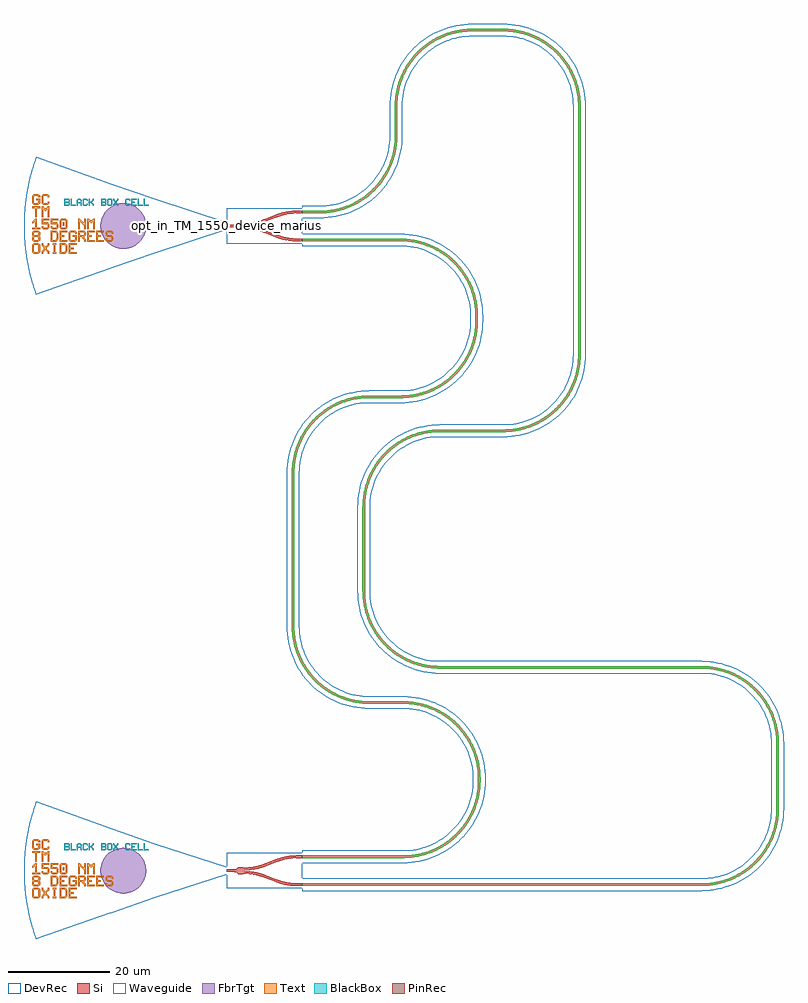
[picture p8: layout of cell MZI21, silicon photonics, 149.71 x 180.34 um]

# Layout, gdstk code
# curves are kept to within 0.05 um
import gdstk
lib = gdstk.Library(unit=1e-6, precision=1e-09)
def R(c, l, rs):  # rectangles x0, y0, x1, y1
    for r in rs: c.add(gdstk.rectangle(r[:2], r[2:], *l))
def P(c, l, *ps):  # polygons
    for p in ps: c.add(gdstk.Polygon(p, *l))
Si = (1, 0)
PinRec = (1, 10)
Waveguide = (1, 99)
Text = (10, 0)
DevRec = (68, 0)
FbrTgt = (81, 0)
BlackBox = (998, 0)

text_1 = lib.new_cell('TEXT$1')
P(text_1, BlackBox, [(0,0),(0,1.4),(0.8,1.4),(1,1.2),(0.2,1.2),(0.2,0.8),(0.7,0.8),(0.8,0.9),(0.8,1.1),(0.7,1.2),(1,1.2),(1,0.8),(0.9,0.7),(1,0.6),(0.2,0.6),(0.2,0.2),(0.7,0.2),(0.8,0.3),(0.8,0.5),(0.7,0.6),(1,0.6),(1,0.2),(0.8,0)],
  [(1.2,0),(1.2,1.4),(1.4,1.4),(1.4,0.2),(2.2,0.2),(2.2,0)],
  [(2.4,0),(2.4,1.1),(2.7,1.4),(3.1,1.4),(3.3,1.2),(2.8,1.2),(2.6,1),(2.6,0.7),(3.2,0.7),(3.2,1),(3,1.2),(3.3,1.2),(3.4,1.1),(3.4,0),(3.2,0),(3.2,0.5),(2.6,0.5),(2.6,0)],
  [(3.8,0),(3.6,0.2),(3.6,1.2),(3.8,1.4),(4.4,1.4),(4.6,1.2),(4.6,1),(4.4,1),(4.4,1.1),(4.3,1.2),(3.9,1.2),(3.8,1.1),(3.8,0.3),(3.9,0.2),(4.3,0.2),(4.4,0.3),(4.4,0.4),(4.6,0.4),(4.6,0.2),(4.4,0)],
  [(4.8,0),(4.8,1.4),(5,1.4),(5,0.8),(5.2,0.8),(5.6,1.2),(5.6,1.4),(5.8,1.4),(5.8,1.1),(5.4,0.7),(5.8,0.3),(5.8,0),(5.6,0),(5.6,0.2),(5.2,0.6),(5,0.6),(5,0)],
  [(7.2,0),(7.2,1.4),(8,1.4),(8.2,1.2),(7.4,1.2),(7.4,0.8),(7.9,0.8),(8,0.9),(8,1.1),(7.9,1.2),(8.2,1.2),(8.2,0.8),(8.1,0.7),(8.2,0.6),(7.4,0.6),(7.4,0.2),(7.9,0.2),(8,0.3),(8,0.5),(7.9,0.6),(8.2,0.6),(8.2,0.2),(8,0)],
  [(8.6,0),(8.4,0.2),(8.4,1.2),(8.6,1.4),(9.2,1.4),(9.4,1.2),(9.4,0.7),(9.2,0.7),(9.2,1.1),(9.1,1.2),(8.7,1.2),(8.6,1.1),(8.6,0.3),(8.7,0.2),(9.1,0.2),(9.2,0.3),(9.2,0.7),(9.4,0.7),(9.4,0.2),(9.2,0)],
  [(9.6,0),(9.6,0.3),(9.9,0.6),(9.9,0.8),(9.6,1.1),(9.6,1.4),(9.8,1.4),(9.8,1.2),(10.1,0.9),(10.4,1.2),(10.4,1.4),(10.6,1.4),(10.6,1.1),(10.3,0.8),(10.3,0.6),(10.6,0.3),(10.6,0),(10.4,0),(10.4,0.2),(10.1,0.5),(9.8,0.2),(9.8,0)],
  [(12.2,0),(12,0.2),(12,1.2),(12.2,1.4),(12.8,1.4),(13,1.2),(13,1),(12.8,1),(12.8,1.1),(12.7,1.2),(12.3,1.2),(12.2,1.1),(12.2,0.3),(12.3,0.2),(12.7,0.2),(12.8,0.3),(12.8,0.4),(13,0.4),(13,0.2),(12.8,0)],
  [(13.2,0),(13.2,1.4),(14.2,1.4),(14.2,1.2),(13.4,1.2),(13.4,0.8),(13.8,0.8),(13.8,0.6),(13.4,0.6),(13.4,0.2),(14.2,0.2),(14.2,0)],
  [(14.4,0),(14.4,1.4),(14.6,1.4),(14.6,0.2),(15.4,0.2),(15.4,0)],
  [(15.6,0),(15.6,1.4),(15.8,1.4),(15.8,0.2),(16.6,0.2),(16.6,0)])

gc_tm_1550_8degoxide_bb = lib.new_cell('GC_TM_1550_8degOxide_BB')
R(gc_tm_1550_8degoxide_bb, Text, [(-32.313,0.092,-32.013,0.692)])
P(gc_tm_1550_8degoxide_bb, Text, [(-37.713,1.742),(-37.713,3.542),(-38.313,3.542),(-38.313,3.842),(-36.813,3.842),(-36.813,3.542),(-37.413,3.542),(-37.413,1.742)],
  [(-38.013,-5.458),(-38.313,-5.158),(-38.313,-3.658),(-38.013,-3.358),(-37.113,-3.358),(-36.813,-3.658),(-36.813,-4.408),(-37.113,-4.408),(-37.113,-3.808),(-37.263,-3.658),(-37.863,-3.658),(-38.013,-3.808),(-38.013,-5.008),(-37.863,-5.158),(-37.263,-5.158),(-37.113,-5.008),(-37.113,-4.408),(-36.813,-4.408),(-36.813,-5.158),(-37.113,-5.458)],
  [(-31.113,-5.458),(-31.113,-3.358),(-29.613,-3.358),(-29.613,-3.658),(-30.813,-3.658),(-30.813,-4.258),(-30.213,-4.258),(-30.213,-4.558),(-30.813,-4.558),(-30.813,-5.158),(-29.613,-5.158),(-29.613,-5.458)],
  [(-32.913,-3.058),(-32.913,-0.958),(-31.413,-0.958),(-31.413,-1.258),(-32.613,-1.258),(-32.613,-1.858),(-32.013,-1.858),(-32.013,-2.158),(-32.613,-2.158),(-32.613,-2.758),(-31.413,-2.758),(-31.413,-3.058)],
  [(-27.513,-3.058),(-27.513,-0.958),(-26.013,-0.958),(-26.013,-1.258),(-27.213,-1.258),(-27.213,-1.858),(-26.613,-1.858),(-26.613,-2.158),(-27.213,-2.158),(-27.213,-2.758),(-26.013,-2.758),(-26.013,-3.058)],
  [(-25.713,-3.058),(-25.713,-0.958),(-24.213,-0.958),(-24.213,-1.258),(-25.413,-1.258),(-25.413,-1.858),(-24.813,-1.858),(-24.813,-2.158),(-25.413,-2.158),(-25.413,-2.758),(-24.213,-2.758),(-24.213,-3.058)],
  [(-29.313,-0.658),(-29.313,1.442),(-29.013,1.442),(-28.263,0.692),(-28.113,0.692),(-28.113,1.442),(-27.813,1.442),(-27.813,-0.658),(-28.113,-0.658),(-28.113,0.092),(-28.863,0.842),(-29.013,0.842),(-29.013,-0.658)],
  [(-34.263,-5.458),(-34.263,-5.158),(-34.113,-5.158),(-34.113,-3.658),(-34.263,-3.658),(-34.263,-3.358),(-33.663,-3.358),(-33.663,-3.658),(-33.813,-3.658),(-33.813,-5.158),(-33.663,-5.158),(-33.663,-5.458)],
  [(-36.213,4.142),(-36.513,4.442),(-36.513,5.942),(-36.213,6.242),(-35.313,6.242),(-35.013,5.942),(-35.013,5.642),(-35.313,5.642),(-35.313,5.792),(-35.463,5.942),(-36.063,5.942),(-36.213,5.792),(-36.213,4.592),(-36.063,4.442),(-35.463,4.442),(-35.313,4.592),(-35.313,4.742),(-35.013,4.742),(-35.013,4.442),(-35.313,4.142)],
  [(-27.513,-0.658),(-27.513,1.442),(-27.213,1.442),(-26.913,1.142),(-26.613,1.142),(-26.313,1.442),(-26.013,1.442),(-26.013,-0.658),(-26.313,-0.658),(-26.313,0.842),(-26.463,0.842),(-26.763,0.542),(-27.063,0.842),(-27.213,0.842),(-27.213,-0.658)],
  [(-36.513,1.742),(-36.513,3.842),(-36.213,3.842),(-35.913,3.542),(-35.613,3.542),(-35.313,3.842),(-35.013,3.842),(-35.013,1.742),(-35.313,1.742),(-35.313,3.242),(-35.463,3.242),(-35.763,2.942),(-36.063,3.242),(-36.213,3.242),(-36.213,1.742)],
  [(-32.613,-0.658),(-32.913,-0.358),(-32.913,1.142),(-32.613,1.442),(-31.713,1.442),(-31.413,1.142),(-32.463,1.142),(-32.613,0.992),(-32.613,-0.208),(-32.463,-0.358),(-31.863,-0.358),(-31.713,-0.208),(-31.713,0.992),(-31.863,1.142),(-31.413,1.142),(-31.413,-0.358),(-31.713,-0.658)],
  [(-32.913,-5.458),(-32.913,-3.358),(-31.863,-3.358),(-31.563,-3.658),(-32.613,-3.658),(-32.613,-5.158),(-32.013,-5.158),(-31.713,-4.858),(-31.713,-3.958),(-32.013,-3.658),(-31.563,-3.658),(-31.413,-3.808),(-31.413,-5.008),(-31.863,-5.458)],
  [(-34.713,-3.058),(-34.713,-0.958),(-33.663,-0.958),(-33.363,-1.258),(-34.413,-1.258),(-34.413,-2.758),(-33.813,-2.758),(-33.513,-2.458),(-33.513,-1.558),(-33.813,-1.258),(-33.363,-1.258),(-33.213,-1.408),(-33.213,-2.608),(-33.663,-3.058)],
  [(-23.613,-3.058),(-23.913,-2.758),(-23.913,-2.458),(-23.613,-2.458),(-23.613,-2.608),(-23.463,-2.758),(-22.863,-2.758),(-22.713,-2.608),(-22.713,-2.308),(-22.863,-2.158),(-23.613,-2.158),(-23.913,-1.858),(-23.913,-1.258),(-23.613,-0.958),(-22.713,-0.958),(-22.413,-1.258),(-22.413,-1.558),(-22.713,-1.558),(-22.713,-1.408),(-22.863,-1.258),(-23.463,-1.258),(-23.613,-1.408),(-23.613,-1.708),(-23.463,-1.858),(-22.713,-1.858),(-22.413,-2.158),(-22.413,-2.758),(-22.713,-3.058)],
  [(-36.213,-0.658),(-36.513,-0.358),(-36.513,-0.058),(-36.213,-0.058),(-36.213,-0.208),(-36.063,-0.358),(-35.463,-0.358),(-35.313,-0.208),(-35.313,0.242),(-35.463,0.392),(-36.513,0.392),(-36.513,1.442),(-35.013,1.442),(-35.013,1.142),(-36.213,1.142),(-36.213,0.692),(-35.313,0.692),(-35.013,0.392),(-35.013,-0.358),(-35.313,-0.658)],
  [(-34.413,-0.658),(-34.713,-0.358),(-34.713,-0.058),(-34.413,-0.058),(-34.413,-0.208),(-34.263,-0.358),(-33.663,-0.358),(-33.513,-0.208),(-33.513,0.242),(-33.663,0.392),(-34.713,0.392),(-34.713,1.442),(-33.213,1.442),(-33.213,1.142),(-34.413,1.142),(-34.413,0.692),(-33.513,0.692),(-33.213,0.392),(-33.213,-0.358),(-33.513,-0.658)],
  [(-38.013,-3.058),(-38.313,-2.758),(-38.313,-2.158),(-38.163,-2.008),(-38.313,-1.858),(-38.313,-1.258),(-38.013,-0.958),(-37.113,-0.958),(-36.813,-1.258),(-37.863,-1.258),(-38.013,-1.408),(-38.013,-1.708),(-37.863,-1.858),(-37.263,-1.858),(-37.113,-1.708),(-37.113,-1.408),(-37.263,-1.258),(-36.813,-1.258),(-36.813,-1.858),(-36.963,-2.008),(-36.813,-2.158),(-37.863,-2.158),(-38.013,-2.308),(-38.013,-2.608),(-37.863,-2.758),(-37.263,-2.758),(-37.113,-2.608),(-37.113,-2.308),(-37.263,-2.158),(-36.813,-2.158),(-36.813,-2.758),(-37.113,-3.058)],
  [(-38.313,-0.658),(-38.313,-0.358),(-37.713,-0.358),(-37.713,0.842),(-37.863,0.842),(-38.163,0.542),(-38.313,0.542),(-38.313,0.842),(-37.713,1.442),(-37.413,1.442),(-37.413,-0.358),(-36.813,-0.358),(-36.813,-0.658)],
  [(-36.513,-5.458),(-36.513,-5.008),(-36.063,-4.558),(-36.063,-4.258),(-36.513,-3.808),(-36.513,-3.358),(-36.213,-3.358),(-36.213,-3.658),(-35.763,-4.108),(-35.313,-3.658),(-35.313,-3.358),(-35.013,-3.358),(-35.013,-3.808),(-35.463,-4.258),(-35.463,-4.558),(-35.013,-5.008),(-35.013,-5.458),(-35.313,-5.458),(-35.313,-5.158),(-35.763,-4.708),(-36.213,-5.158),(-36.213,-5.458)],
  [(-30.813,-3.058),(-31.113,-2.758),(-31.113,-1.258),(-30.813,-0.958),(-29.913,-0.958),(-29.613,-1.258),(-29.613,-1.558),(-29.913,-1.558),(-29.913,-1.408),(-30.063,-1.258),(-30.663,-1.258),(-30.813,-1.408),(-30.813,-2.608),(-30.663,-2.758),(-30.063,-2.758),(-29.913,-2.608),(-29.913,-2.158),(-30.363,-2.158),(-30.363,-1.858),(-29.613,-1.858),(-29.613,-2.758),(-29.913,-3.058)],
  [(-38.013,4.142),(-38.313,4.442),(-38.313,5.942),(-38.013,6.242),(-37.113,6.242),(-36.813,5.942),(-36.813,5.642),(-37.113,5.642),(-37.113,5.792),(-37.263,5.942),(-37.863,5.942),(-38.013,5.792),(-38.013,4.592),(-37.863,4.442),(-37.263,4.442),(-37.113,4.592),(-37.113,5.042),(-37.563,5.042),(-37.563,5.342),(-36.813,5.342),(-36.813,4.442),(-37.113,4.142)],
  [(-29.313,-3.058),(-29.313,-0.958),(-28.113,-0.958),(-27.813,-1.258),(-29.013,-1.258),(-29.013,-1.858),(-28.263,-1.858),(-28.113,-1.708),(-28.113,-1.408),(-28.263,-1.258),(-27.813,-1.258),(-27.813,-1.858),(-28.113,-2.158),(-28.113,-2.308),(-27.813,-2.608),(-27.813,-3.058),(-28.113,-3.058),(-28.113,-2.758),(-28.713,-2.158),(-29.013,-2.158),(-29.013,-3.058)])
P(gc_tm_1550_8degoxide_bb, DevRec, [(-37.607,-13.5),(-38.627,-10.245),(-39.378,-6.832),(-39.835,-3.274),(-39.969,0.224),(-39.812,3.541),(-39.331,7.097),(-38.557,10.505),(-37.546,13.669),(-22.8,8.353),(-14.109,5.36),(0,0.75),(0,-0.75),(-14.109,-5.36)])
P(gc_tm_1550_8degoxide_bb, FbrTgt, [(-20.621,-4.5),(-21.495,-4.37),(-22.326,-4.073),(-23.084,-3.619),(-23.738,-3.026),(-24.264,-2.316),(-24.642,-1.518),(-24.857,-0.661),(-24.9,0.221),(-24.77,1.095),(-24.473,1.926),(-24.019,2.684),(-23.426,3.338),(-22.716,3.864),(-21.918,4.242),(-21.061,4.457),(-20.179,4.5),(-19.305,4.37),(-18.474,4.073),(-17.716,3.619),(-17.062,3.026),(-16.536,2.316),(-16.158,1.518),(-15.943,0.661),(-15.9,-0.221),(-16.03,-1.095),(-16.327,-1.926),(-16.781,-2.684),(-17.374,-3.338),(-18.084,-3.864),(-18.882,-4.242),(-19.739,-4.457)])
gc_tm_1550_8degoxide_bb.add(gdstk.FlexPath([(-0.01,0),(0.01,0)], 0.5, ends="flush", simple_path=True, layer=1, datatype=10))  # PinRec
gc_tm_1550_8degoxide_bb.add(gdstk.Reference(text_1, (-32,4)))
gc_tm_1550_8degoxide_bb.add(gdstk.Label('opt1', (0,0), layer=1, texttype=10))
gc_tm_1550_8degoxide_bb.add(gdstk.Label('Component=GC_TM_1550_8degOxide_BB', (-28,-5), layer=68, texttype=0))

ebeam_y_1550 = lib.new_cell('ebeam_y_1550')
R(ebeam_y_1550, Si, [(6.5,-3,7.4,-2.5), (-7.4,-0.25,-6,0.25), (6.5,2.5,7.4,3)])
P(ebeam_y_1550, Si, [(6.458,-3),(6.237,-2.997),(6.237,-2.497),(6.5,-2.5),(6.5,-3)],
  [(5.033,-2.908),(3.59,-2.634),(2.265,-2.21),(2.445,-1.744),(3.731,-2.154),(5.033,-2.404)],
  [(6.233,-2.997),(5.033,-2.908),(5.033,-2.404),(6.237,-2.497)],
  [(2.265,-2.21),(0.055,-1.356),(0.235,-0.89),(2.445,-1.744)],
  [(-0.762,-1.076),(-2.334,-0.724),(-4,-0.6),(-4,-0.1),(-2.381,-0.212),(-0.762,-0.555)],
  [(0.055,-1.356),(-0.762,-1.076),(-0.762,-0.555),(0.235,-0.89)],
  [(6.237,2.497),(6.237,2.997),(6.5,3),(6.5,2.5)],
  [(2.445,1.744),(2.267,2.211),(3.59,2.634),(5.033,2.908),(5.033,2.404),(3.731,2.154)],
  [(5.033,2.404),(5.033,2.908),(6.237,2.997),(6.237,2.497)],
  [(0.235,0.89),(0.055,1.356),(2.265,2.21),(2.445,1.744)],
  [(-4,0.1),(-4,0.6),(-2.334,0.724),(-0.762,1.076),(-0.762,0.555),(-2.381,0.212)],
  [(-0.762,0.555),(-0.762,1.076),(0.055,1.356),(0.235,0.89)],
  [(-5.122,-0.662),(-5.442,-0.374),(-5.808,-0.255),(-6,-0.25),(-6,0.25),(-5.817,0.253),(-5.442,0.374),(-5.122,0.662)],
  [(-4.957,-0.703),(-5.122,-0.662),(-5.122,0.662),(-4.538,0.703),(-4,0.6),(-4,-0.6)])
R(ebeam_y_1550, DevRec, [(-7.4,-3.5,7.4,3.5)])
ebeam_y_1550.add(gdstk.FlexPath([(-7.35,0),(-7.45,0)], 0.5, ends="flush", simple_path=True, layer=1, datatype=10))  # PinRec
ebeam_y_1550.add(gdstk.FlexPath([(7.35,2.75),(7.45,2.75)], 0.5, ends="flush", simple_path=True, layer=1, datatype=10))  # PinRec
ebeam_y_1550.add(gdstk.FlexPath([(7.35,-2.75),(7.45,-2.75)], 0.5, ends="flush", simple_path=True, layer=1, datatype=10))  # PinRec
ebeam_y_1550.add(gdstk.Label('opt2', (7.4,2.75), layer=1, texttype=10))
ebeam_y_1550.add(gdstk.Label('opt3', (7.4,-2.75), layer=1, texttype=10))
ebeam_y_1550.add(gdstk.Label('opt1', (-7.4,0), layer=1, texttype=10))
ebeam_y_1550.add(gdstk.Label('Component=ebeam_y_1550', (-6,1.5), layer=68, texttype=0))
ebeam_y_1550.add(gdstk.Label('Lumerical_INTERCONNECT_library=Design kits/ebeam', (-6.86,-2.19), layer=68, texttype=0))
ebeam_y_1550.add(gdstk.Label('Ref: Y Zhang, Opt. Express, 21/1, 2013', (-7.5,-1), layer=10, texttype=0))

waveguide_30 = lib.new_cell('Waveguide$30')
P(waveguide_30, Si, [(54.769,16),(54.769,16.5),(75.644,16.531),(77.793,16.832),(79.875,17.445),(81.632,18.241),(83.27,19.26),(84.762,20.485),(86.081,21.893),(87.205,23.461),(88.114,25.162),(88.722,26.737),(89.191,28.61),(89.411,30.526),(89.398,32.595),(89.146,34.507),(88.646,36.371),(87.908,38.154),(86.943,39.825),(85.769,41.355),(84.404,42.72),(83.074,43.758),(81.419,44.751),(79.875,45.435),(78.028,45.995),(76.843,46.221),(75.403,46.362),(67.76,46.382),(66.018,46.51),(64.789,46.724),(63.344,47.111),(62.173,47.541),(60.82,48.181),(59.33,49.09),(57.954,50.164),(56.543,51.575),(55.469,52.951),(54.444,54.662),(53.736,56.258),(53.216,57.924),(52.859,59.887),(52.759,61.63),(52.777,92.608),(52.962,94.344),(53.416,96.286),(54.018,97.925),(54.802,99.485),(55.469,100.539),(56.38,101.726),(57.225,102.644),(58.143,103.489),(59.126,104.256),(60.169,104.941),(61.489,105.646),(62.637,106.133),(64.789,106.766),(66.763,107.059),(74.662,107.118),(76.581,107.307),(77.996,107.612),(79.375,108.055),(80.919,108.739),(82.172,109.463),(83.536,110.458),(84.944,111.777),(86.169,113.269),(87.072,114.696),(87.897,116.439),(88.427,118.043),(88.77,119.696),(88.927,121.619),(88.88,123.956),(88.544,126.099),(87.897,128.171),(86.952,130.125),(85.732,131.92),(84.262,133.515),(82.574,134.878),(80.485,136.084),(79.375,136.555),(77.996,136.998),(76.581,137.303),(75.144,137.469),(54.769,137.5),(54.769,138),(74.428,137.998),(75.673,137.927),(76.909,137.754),(78.605,137.343),(80.015,136.839),(81.368,136.199),(82.858,135.29),(84.234,134.216),(85.31,133.175),(86.428,131.834),(87.386,130.375),(88.07,129.044),(88.698,127.415),(89.136,125.725),(89.356,124.244),(89.429,122.75),(89.378,120.614),(89.183,119.13),(88.772,117.434),(88.268,116.024),(87.628,114.671),(86.859,113.387),(85.967,112.185),(84.963,111.076),(83.854,110.072),(82.652,109.18),(81.368,108.411),(79.082,107.419),(77.885,107.067),(76.417,106.775),(74.428,106.612),(67.044,106.579),(65.132,106.327),(63.268,105.827),(61.056,104.869),(60.016,104.257),(58.839,103.413),(57.751,102.459),(56.919,101.585),(55.483,99.649),(54.574,97.948),(53.966,96.373),(53.497,94.5),(53.277,92.584),(53.259,61.63),(53.355,59.945),(53.644,58.281),(54.204,56.434),(54.888,54.89),(55.881,53.235),(56.919,51.905),(58.284,50.54),(59.614,49.502),(61.056,48.621),(62.142,48.097),(63.496,47.587),(64.895,47.212),(66.084,47.006),(67.768,46.882),(75.427,46.862),(76.67,46.75),(78.142,46.481),(80.051,45.903),(81.647,45.195),(83.358,44.17),(84.734,43.096),(86.145,41.685),(87.359,40.103),(88.356,38.374),(89.12,36.533),(89.636,34.605),(89.896,32.627),(89.911,30.502),(89.683,28.52),(89.198,26.585),(88.465,24.73),(87.496,22.987),(86.308,21.384),(84.92,19.951),(83.358,18.71),(81.647,17.685),(79.816,16.892),(78.626,16.52),(77.409,16.246),(75.178,16.008)])
P(waveguide_30, Waveguide, [(54.769,16),(54.769,16.5),(75.644,16.531),(77.793,16.832),(79.875,17.445),(81.632,18.241),(83.27,19.26),(84.762,20.485),(86.081,21.893),(87.205,23.461),(88.114,25.162),(88.722,26.737),(89.191,28.61),(89.411,30.526),(89.398,32.595),(89.146,34.507),(88.646,36.371),(87.908,38.154),(86.943,39.825),(85.769,41.355),(84.404,42.72),(83.074,43.758),(81.419,44.751),(79.875,45.435),(78.028,45.995),(76.843,46.221),(75.403,46.362),(67.76,46.382),(66.018,46.51),(64.789,46.724),(63.344,47.111),(62.173,47.541),(60.82,48.181),(59.33,49.09),(57.954,50.164),(56.543,51.575),(55.469,52.951),(54.444,54.662),(53.736,56.258),(53.216,57.924),(52.859,59.887),(52.759,61.63),(52.777,92.608),(52.962,94.344),(53.416,96.286),(54.018,97.925),(54.802,99.485),(55.469,100.539),(56.38,101.726),(57.225,102.644),(58.143,103.489),(59.126,104.256),(60.169,104.941),(61.489,105.646),(62.637,106.133),(64.789,106.766),(66.763,107.059),(74.662,107.118),(76.581,107.307),(77.996,107.612),(79.375,108.055),(80.919,108.739),(82.172,109.463),(83.536,110.458),(84.944,111.777),(86.169,113.269),(87.072,114.696),(87.897,116.439),(88.427,118.043),(88.77,119.696),(88.927,121.619),(88.88,123.956),(88.544,126.099),(87.897,128.171),(86.952,130.125),(85.732,131.92),(84.262,133.515),(82.574,134.878),(80.485,136.084),(79.375,136.555),(77.996,136.998),(76.581,137.303),(75.144,137.469),(54.769,137.5),(54.769,138),(74.428,137.998),(75.673,137.927),(76.909,137.754),(78.605,137.343),(80.015,136.839),(81.368,136.199),(82.858,135.29),(84.234,134.216),(85.31,133.175),(86.428,131.834),(87.386,130.375),(88.07,129.044),(88.698,127.415),(89.136,125.725),(89.356,124.244),(89.429,122.75),(89.378,120.614),(89.183,119.13),(88.772,117.434),(88.268,116.024),(87.628,114.671),(86.859,113.387),(85.967,112.185),(84.963,111.076),(83.854,110.072),(82.652,109.18),(81.368,108.411),(79.082,107.419),(77.885,107.067),(76.417,106.775),(74.428,106.612),(67.044,106.579),(65.132,106.327),(63.268,105.827),(61.056,104.869),(60.016,104.257),(58.839,103.413),(57.751,102.459),(56.919,101.585),(55.483,99.649),(54.574,97.948),(53.966,96.373),(53.497,94.5),(53.277,92.584),(53.259,61.63),(53.355,59.945),(53.644,58.281),(54.204,56.434),(54.888,54.89),(55.881,53.235),(56.919,51.905),(58.284,50.54),(59.614,49.502),(61.056,48.621),(62.142,48.097),(63.496,47.587),(64.895,47.212),(66.084,47.006),(67.768,46.882),(75.427,46.862),(76.67,46.75),(78.142,46.481),(80.051,45.903),(81.647,45.195),(83.358,44.17),(84.734,43.096),(86.145,41.685),(87.359,40.103),(88.356,38.374),(89.12,36.533),(89.636,34.605),(89.896,32.627),(89.911,30.502),(89.683,28.52),(89.198,26.585),(88.465,24.73),(87.496,22.987),(86.308,21.384),(84.92,19.951),(83.358,18.71),(81.647,17.685),(79.816,16.892),(78.626,16.52),(77.409,16.246),(75.178,16.008)])
P(waveguide_30, DevRec, [(54.769,15),(54.769,17.5),(75.354,17.517),(77.361,17.764),(78.67,18.092),(79.941,18.547),(81.748,19.456),(82.869,20.206),(84.402,21.527),(85.308,22.527),(86.473,24.181),(87.109,25.371),(87.837,27.259),(88.165,28.568),(88.412,30.575),(88.412,32.305),(88.281,33.648),(87.837,35.621),(87.109,37.509),(86.473,38.699),(85.308,40.353),(83.913,41.817),(82.318,43.063),(81.161,43.756),(79.941,44.333),(78.02,44.968),(76.697,45.232),(75.354,45.363),(68.006,45.38),(65.625,45.556),(64.06,45.868),(62.535,46.33),(61.062,46.94),(59.654,47.692),(58.329,48.578),(56.518,50.139),(54.957,51.95),(54.071,53.275),(53.319,54.683),(52.709,56.156),(52.071,58.46),(51.837,60.038),(51.759,61.629),(51.778,92.657),(52.071,95.03),(52.459,96.577),(53.319,98.807),(54.071,100.215),(54.957,101.54),(55.968,102.772),(57.7,104.421),(58.98,105.371),(60.349,106.192),(62.535,107.16),(64.839,107.798),(66.417,108.032),(68.006,108.11),(74.176,108.11),(76.197,108.258),(77.52,108.522),(78.811,108.914),(80.058,109.43),(81.248,110.066),(82.902,111.231),(83.902,112.137),(84.808,113.137),(85.973,114.791),(86.609,115.981),(87.337,117.869),(87.781,119.842),(87.912,121.185),(87.912,123.425),(87.665,125.432),(87.125,127.382),(86.305,129.232),(85.223,130.94),(83.902,132.473),(82.369,133.794),(80.661,134.876),(79.441,135.453),(77.52,136.088),(76.197,136.352),(74.854,136.483),(54.769,136.5),(54.769,139),(74.18,139),(75.771,138.922),(77.349,138.688),(78.896,138.3),(80.397,137.763),(81.839,137.082),(83.208,136.261),(84.488,135.311),(85.67,134.241),(87.231,132.43),(88.117,131.105),(88.869,129.697),(89.479,128.224),(90.117,125.92),(90.351,124.342),(90.429,122.764),(90.351,120.268),(90.117,118.69),(89.729,117.143),(89.192,115.642),(88.511,114.2),(87.69,112.831),(86.74,111.551),(85.67,110.369),(84.488,109.299),(83.208,108.349),(81.839,107.528),(80.397,106.847),(78.896,106.31),(76.563,105.786),(74.976,105.629),(68.012,105.61),(66.661,105.544),(64.668,105.198),(63.377,104.806),(62.13,104.29),(60.94,103.654),(59.286,102.489),(58.286,101.583),(57.38,100.583),(56.215,98.929),(55.579,97.739),(54.851,95.851),(54.407,93.878),(54.276,92.535),(54.259,61.631),(54.325,60.282),(54.671,58.289),(55.063,56.998),(55.579,55.751),(56.576,53.991),(57.38,52.907),(58.775,51.443),(60.37,50.197),(61.527,49.504),(62.747,48.927),(64.018,48.472),(65.991,48.028),(68.012,47.88),(75.476,47.861),(77.063,47.704),(78.628,47.392),(80.153,46.93),(82.339,45.962),(83.708,45.141),(85.591,43.671),(87.24,41.939),(88.617,39.985),(89.369,38.577),(90.229,36.347),(90.617,34.8),(90.91,32.427),(90.91,30.453),(90.617,28.08),(89.979,25.776),(89.011,23.59),(88.19,22.221),(86.72,20.338),(85.591,19.209),(83.708,17.739),(82.339,16.918),(80.153,15.95),(77.849,15.312),(75.476,15.019)])
waveguide_30.add(gdstk.FlexPath([(54.779,137.75),(54.759,137.75)], 0.5, ends="flush", simple_path=True, layer=1, datatype=10))  # PinRec
waveguide_30.add(gdstk.FlexPath([(54.779,16.25),(54.759,16.25)], 0.5, ends="flush", simple_path=True, layer=1, datatype=10))  # PinRec
waveguide_30.add(gdstk.Label('opt1', (54.769,137.75), layer=1, texttype=10))
waveguide_30.add(gdstk.Label('opt2', (54.769,16.25), layer=1, texttype=10))
waveguide_30.add(gdstk.Label('Lumerical_INTERCONNECT_library=Design kits/EBeam', (54.769,137.65), layer=68, texttype=0))
waveguide_30.add(gdstk.Label('Component=ebeam_wg_integral_1550', (54.769,137.85), layer=68, texttype=0))
waveguide_30.add(gdstk.Label('cellName=Waveguide', (54.769,137.95), layer=68, texttype=0))
waveguide_30.add(gdstk.Label('Spice_param:wg_length=0.000225004 wg_width=5e-07 points="[[54.769,137.75],[89.179,137.75],[89.179,106.86],[53.009,106.86],[53.009,46.63],[89.679,46.63],[89.679,16.25],[54.769,16.25]]" radius=1.5e-05', (54.769,137.75), layer=68, texttype=0))
waveguide_30.add(gdstk.Label('Length=225.004 (microns)', (54.769,137.15), layer=68, texttype=0))
waveguide_30.add(gdstk.Label('waveguide_type=Strip TM 1550 nm, w=500 nm', (54.769,137.55), layer=68, texttype=0))

waveguide_24 = lib.new_cell('Waveguide$24')
P(waveguide_24, Si, [(54.769,10.5),(54.769,11),(133.459,11),(135.144,11.096),(137.276,11.502),(139.326,12.217),(141.452,13.353),(143.184,14.66),(144.706,16.208),(145.985,17.961),(146.992,19.883),(147.707,21.933),(148.083,23.825),(148.209,25.75),(148.201,39.053),(148.05,40.734),(147.766,42.154),(147.264,43.766),(146.688,45.094),(145.856,46.563),(145.012,47.74),(143.889,49),(142.816,49.972),(141.452,50.967),(140.199,51.691),(138.655,52.375),(137.276,52.818),(135.623,53.161),(133.942,53.312),(81.929,53.32),(80.683,53.371),(79.445,53.523),(77.264,54.051),(75.409,54.784),(73.456,55.89),(71.874,57.104),(70.463,58.515),(69.249,60.097),(68.143,62.05),(67.41,63.905),(66.882,66.086),(66.687,68.071),(66.679,85.16),(66.752,86.654),(67.136,88.866),(67.488,90.063),(67.938,91.225),(68.979,93.213),(69.68,94.244),(70.463,95.215),(72.063,96.789),(73.046,97.556),(74.089,98.241),(75.185,98.837),(76.324,99.342),(77.503,99.753),(78.709,100.066),(80.186,100.31),(81.68,100.408),(95.374,100.441),(97.523,100.742),(99.605,101.355),(101.149,102.039),(102.402,102.763),(103.579,103.607),(104.839,104.73),(105.962,105.99),(106.806,107.167),(107.53,108.42),(108.127,109.739),(108.524,110.878),(108.876,112.283),(109.063,113.475),(109.157,114.919),(109.159,164.09),(109,166.254),(108.592,168.14),(107.942,169.957),(107.06,171.674),(106.111,173.069),(104.839,174.52),(103.579,175.643),(101.993,176.741),(100.276,177.623),(98.922,178.133),(97.523,178.508),(96.094,178.744),(94.409,178.84),(88.048,178.838),(86.843,178.769),(84.705,178.397),(82.645,177.717),(81.336,177.099),(80.094,176.354),(78.932,175.492),(77.859,174.52),(76.887,173.447),(76.161,172.485),(75.396,171.254),(74.756,169.957),(74.041,167.907),(73.61,165.536),(73.541,164.331),(73.531,157.751),(73.409,156.259),(73.195,155.03),(72.73,153.347),(72.075,151.73),(71.239,150.197),(70.077,148.575),(68.714,147.119),(66.968,145.71),(65.257,144.685),(63.192,143.809),(61.019,143.246),(58.788,143.008),(54.769,143),(54.769,143.5),(58.53,143.502),(59.974,143.596),(61.873,143.943),(63.71,144.532),(65.453,145.357),(67.268,146.548),(68.719,147.82),(70.136,149.464),(71.062,150.875),(71.822,152.383),(72.404,153.968),(72.801,155.61),(73.031,157.767),(73.09,165.336),(73.332,167.065),(73.77,168.755),(74.612,170.834),(75.749,172.769),(77.158,174.515),(78.614,175.878),(80.236,177.04),(81.995,177.981),(83.863,178.683),(86.051,179.175),(88.04,179.338),(94.908,179.332),(96.4,179.21),(98.115,178.883),(100.245,178.179),(102.249,177.171),(104.084,175.878),(105.54,174.515),(106.949,172.769),(108.086,170.834),(108.928,168.755),(109.456,166.574),(109.608,165.336),(109.659,164.09),(109.659,115.16),(109.529,113.169),(109.139,111.213),(108.591,109.555),(107.858,107.971),(106.949,106.481),(105.875,105.105),(104.65,103.861),(103.292,102.764),(101.817,101.831),(100.245,101.071),(99.074,100.641),(97.872,100.309),(96.647,100.075),(95.406,99.943),(81.688,99.908),(80.244,99.814),(78.815,99.578),(76.508,98.878),(74.345,97.811),(72.572,96.562),(70.839,94.885),(69.532,93.153),(68.396,91.027),(67.681,88.977),(67.25,86.606),(67.179,85.16),(67.187,68.087),(67.417,65.93),(67.886,64.057),(68.595,62.264),(69.532,60.577),(70.839,58.845),(72.204,57.48),(73.936,56.173),(75.623,55.236),(77.416,54.527),(79.527,54.017),(81.929,53.82),(133.958,53.812),(135.45,53.69),(137.165,53.363),(138.831,52.843),(140.427,52.135),(141.932,51.25),(143.134,50.358),(144.243,49.354),(145.404,48.05),(146.409,46.623),(147.136,45.314),(147.732,43.942),(148.252,42.276),(148.579,40.561),(148.709,38.57),(148.701,25.251),(148.579,23.759),(148.252,22.044),(147.548,19.914),(146.54,17.91),(145.855,16.867),(145.088,15.884),(143.514,14.284),(141.722,12.933),(139.753,11.859),(137.647,11.087),(135.45,10.63),(133.459,10.5)])
P(waveguide_24, Waveguide, [(54.769,10.5),(54.769,11),(133.459,11),(135.144,11.096),(137.276,11.502),(139.326,12.217),(141.452,13.353),(143.184,14.66),(144.706,16.208),(145.985,17.961),(146.992,19.883),(147.707,21.933),(148.083,23.825),(148.209,25.75),(148.201,39.053),(148.05,40.734),(147.766,42.154),(147.264,43.766),(146.688,45.094),(145.856,46.563),(145.012,47.74),(143.889,49),(142.816,49.972),(141.452,50.967),(140.199,51.691),(138.655,52.375),(137.276,52.818),(135.623,53.161),(133.942,53.312),(81.929,53.32),(80.683,53.371),(79.445,53.523),(77.264,54.051),(75.409,54.784),(73.456,55.89),(71.874,57.104),(70.463,58.515),(69.249,60.097),(68.143,62.05),(67.41,63.905),(66.882,66.086),(66.687,68.071),(66.679,85.16),(66.752,86.654),(67.136,88.866),(67.488,90.063),(67.938,91.225),(68.979,93.213),(69.68,94.244),(70.463,95.215),(72.063,96.789),(73.046,97.556),(74.089,98.241),(75.185,98.837),(76.324,99.342),(77.503,99.753),(78.709,100.066),(80.186,100.31),(81.68,100.408),(95.374,100.441),(97.523,100.742),(99.605,101.355),(101.149,102.039),(102.402,102.763),(103.579,103.607),(104.839,104.73),(105.962,105.99),(106.806,107.167),(107.53,108.42),(108.127,109.739),(108.524,110.878),(108.876,112.283),(109.063,113.475),(109.157,114.919),(109.159,164.09),(109,166.254),(108.592,168.14),(107.942,169.957),(107.06,171.674),(106.111,173.069),(104.839,174.52),(103.579,175.643),(101.993,176.741),(100.276,177.623),(98.922,178.133),(97.523,178.508),(96.094,178.744),(94.409,178.84),(88.048,178.838),(86.843,178.769),(84.705,178.397),(82.645,177.717),(81.336,177.099),(80.094,176.354),(78.932,175.492),(77.859,174.52),(76.887,173.447),(76.161,172.485),(75.396,171.254),(74.756,169.957),(74.041,167.907),(73.61,165.536),(73.541,164.331),(73.531,157.751),(73.409,156.259),(73.195,155.03),(72.73,153.347),(72.075,151.73),(71.239,150.197),(70.077,148.575),(68.714,147.119),(66.968,145.71),(65.257,144.685),(63.192,143.809),(61.019,143.246),(58.788,143.008),(54.769,143),(54.769,143.5),(58.53,143.502),(59.974,143.596),(61.873,143.943),(63.71,144.532),(65.453,145.357),(67.268,146.548),(68.719,147.82),(70.136,149.464),(71.062,150.875),(71.822,152.383),(72.404,153.968),(72.801,155.61),(73.031,157.767),(73.09,165.336),(73.332,167.065),(73.77,168.755),(74.612,170.834),(75.749,172.769),(77.158,174.515),(78.614,175.878),(80.236,177.04),(81.995,177.981),(83.863,178.683),(86.051,179.175),(88.04,179.338),(94.908,179.332),(96.4,179.21),(98.115,178.883),(100.245,178.179),(102.249,177.171),(104.084,175.878),(105.54,174.515),(106.949,172.769),(108.086,170.834),(108.928,168.755),(109.456,166.574),(109.608,165.336),(109.659,164.09),(109.659,115.16),(109.529,113.169),(109.139,111.213),(108.591,109.555),(107.858,107.971),(106.949,106.481),(105.875,105.105),(104.65,103.861),(103.292,102.764),(101.817,101.831),(100.245,101.071),(99.074,100.641),(97.872,100.309),(96.647,100.075),(95.406,99.943),(81.688,99.908),(80.244,99.814),(78.815,99.578),(76.508,98.878),(74.345,97.811),(72.572,96.562),(70.839,94.885),(69.532,93.153),(68.396,91.027),(67.681,88.977),(67.25,86.606),(67.179,85.16),(67.187,68.087),(67.417,65.93),(67.886,64.057),(68.595,62.264),(69.532,60.577),(70.839,58.845),(72.204,57.48),(73.936,56.173),(75.623,55.236),(77.416,54.527),(79.527,54.017),(81.929,53.82),(133.958,53.812),(135.45,53.69),(137.165,53.363),(138.831,52.843),(140.427,52.135),(141.932,51.25),(143.134,50.358),(144.243,49.354),(145.404,48.05),(146.409,46.623),(147.136,45.314),(147.732,43.942),(148.252,42.276),(148.579,40.561),(148.709,38.57),(148.701,25.251),(148.579,23.759),(148.252,22.044),(147.548,19.914),(146.54,17.91),(145.855,16.867),(145.088,15.884),(143.514,14.284),(141.722,12.933),(139.753,11.859),(137.647,11.087),(135.45,10.63),(133.459,10.5)])
P(waveguide_24, DevRec, [(54.769,9.5),(54.769,12),(133.459,12),(135.477,12.148),(137.45,12.592),(139.338,13.32),(141.098,14.317),(142.693,15.563),(144.088,17.027),(145.253,18.681),(146.162,20.488),(146.797,22.409),(147.061,23.732),(147.209,25.752),(147.192,39.245),(147.061,40.588),(146.797,41.911),(146.405,43.202),(145.889,44.449),(145.253,45.639),(144.088,47.293),(143.182,48.293),(142.182,49.199),(141.098,50.003),(139.941,50.696),(138.721,51.273),(136.8,51.908),(135.477,52.172),(134.134,52.303),(81.929,52.32),(80.337,52.398),(78.759,52.632),(76.455,53.27),(74.269,54.238),(72.9,55.059),(71.017,56.529),(69.368,58.261),(67.991,60.215),(67.239,61.623),(66.379,63.853),(65.991,65.4),(65.698,67.773),(65.679,85.161),(65.757,86.752),(65.991,88.33),(66.379,89.877),(67.239,92.107),(68.418,94.189),(69.888,96.072),(71.62,97.721),(72.9,98.671),(74.269,99.492),(76.455,100.46),(78.759,101.098),(80.337,101.332),(81.927,101.41),(95.084,101.427),(97.091,101.674),(99.041,102.214),(100.288,102.73),(101.478,103.366),(103.132,104.531),(104.132,105.437),(105.038,106.437),(105.842,107.521),(106.535,108.678),(107.112,109.898),(107.567,111.169),(107.895,112.478),(108.093,113.812),(108.159,115.16),(108.159,164.09),(108.011,166.108),(107.567,168.081),(106.839,169.969),(106.203,171.159),(105.038,172.813),(104.132,173.813),(102.599,175.134),(101.478,175.884),(99.671,176.793),(98.4,177.248),(97.091,177.576),(95.757,177.774),(94.406,177.84),(88.292,177.84),(86.941,177.774),(84.948,177.428),(83.027,176.793),(81.807,176.216),(80.65,175.523),(79.566,174.719),(78.566,173.813),(77.66,172.813),(76.856,171.729),(76.163,170.572),(75.586,169.352),(74.951,167.431),(74.605,165.438),(74.539,164.087),(74.52,157.453),(74.363,155.866),(74.051,154.301),(73.589,152.776),(72.621,150.59),(71.8,149.221),(70.33,147.338),(68.598,145.689),(67.318,144.739),(65.949,143.918),(63.763,142.95),(61.459,142.312),(59.086,142.019),(54.769,142),(54.769,144.5),(59.637,144.566),(61.63,144.912),(62.921,145.304),(64.771,146.124),(66.479,147.206),(68.012,148.527),(69.333,150.06),(70.083,151.181),(70.719,152.371),(71.447,154.259),(71.775,155.568),(72.022,157.575),(72.058,164.887),(72.351,167.26),(72.739,168.807),(73.599,171.037),(74.778,173.119),(76.248,175.002),(77.98,176.651),(79.934,178.028),(81.342,178.78),(83.572,179.64),(85.905,180.164),(88.286,180.34),(95.206,180.321),(96.793,180.164),(98.358,179.852),(100.627,179.103),(102.764,178.028),(104.718,176.651),(106.45,175.002),(107.92,173.119),(109.099,171.037),(109.959,168.807),(110.483,166.474),(110.659,164.09),(110.659,115.16),(110.581,113.568),(110.171,111.211),(109.709,109.686),(108.741,107.5),(107.92,106.131),(106.45,104.248),(105.321,103.119),(103.438,101.649),(102.069,100.828),(100.627,100.147),(99.126,99.61),(97.579,99.222),(95.206,98.929),(81.931,98.91),(80.581,98.844),(79.247,98.646),(77.297,98.106),(76.05,97.59),(74.86,96.954),(73.206,95.789),(71.742,94.394),(70.496,92.799),(69.499,91.039),(68.983,89.792),(68.591,88.501),(68.245,86.508),(68.179,85.159),(68.179,68.571),(68.327,66.552),(68.771,64.579),(69.499,62.691),(70.496,60.931),(71.742,59.336),(73.206,57.941),(74.86,56.776),(76.05,56.14),(77.938,55.412),(79.911,54.968),(81.929,54.82),(134.256,54.801),(136.629,54.508),(138.176,54.12),(139.677,53.583),(141.119,52.902),(142.488,52.081),(144.371,50.611),(145.5,49.482),(146.511,48.25),(147.397,46.925),(148.149,45.517),(148.759,44.044),(149.221,42.519),(149.631,40.162),(149.709,38.572),(149.69,24.953),(149.533,23.366),(149.221,21.801),(148.472,19.532),(147.397,17.395),(146.02,15.441),(144.371,13.709),(142.488,12.239),(140.406,11.06),(138.176,10.2),(135.843,9.676),(133.459,9.5)])
waveguide_24.add(gdstk.FlexPath([(54.779,143.25),(54.759,143.25)], 0.5, ends="flush", simple_path=True, layer=1, datatype=10))  # PinRec
waveguide_24.add(gdstk.FlexPath([(54.779,10.75),(54.759,10.75)], 0.5, ends="flush", simple_path=True, layer=1, datatype=10))  # PinRec
waveguide_24.add(gdstk.Label('opt1', (54.769,143.25), layer=1, texttype=10))
waveguide_24.add(gdstk.Label('opt2', (54.769,10.75), layer=1, texttype=10))
waveguide_24.add(gdstk.Label('Lumerical_INTERCONNECT_library=Design kits/EBeam', (54.769,143.15), layer=68, texttype=0))
waveguide_24.add(gdstk.Label('Component=ebeam_wg_integral_1550', (54.769,143.35), layer=68, texttype=0))
waveguide_24.add(gdstk.Label('cellName=Waveguide', (54.769,143.45), layer=68, texttype=0))
waveguide_24.add(gdstk.Label('Length=424.979 (microns)', (54.769,142.65), layer=68, texttype=0))
waveguide_24.add(gdstk.Label('waveguide_type=Strip TM 1550 nm, w=500 nm', (54.769,143.05), layer=68, texttype=0))

mzi21 = lib.new_cell('MZI21')
mzi21.add(gdstk.Reference(gc_tm_1550_8degoxide_bb, (39.969,13.5)))
mzi21.add(gdstk.Reference(gc_tm_1550_8degoxide_bb, (39.969,140.5)))
mzi21.add(gdstk.Reference(ebeam_y_1550, (47.369,140.5)))
mzi21.add(gdstk.Reference(ebeam_y_1550, (47.369,13.5)))
mzi21.add(gdstk.Reference(waveguide_30, (0,0)))
mzi21.add(gdstk.Reference(waveguide_24, (0,0)))
mzi21.add(gdstk.Label('opt_in_TM_1550_device_mariusminnen_MZI21', (39.969,140.5), layer=10, texttype=0))

lib.write_gds('MZI21.gds')
